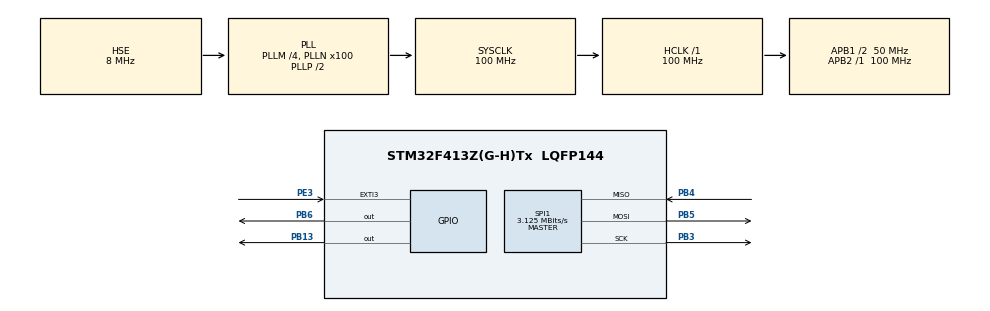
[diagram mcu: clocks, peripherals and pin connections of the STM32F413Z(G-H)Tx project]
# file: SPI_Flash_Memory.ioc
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Mcu.Family=STM32F4
Mcu.Name=STM32F413Z(G-H)Tx
Mcu.Package=LQFP144
NVIC.EXTI3_IRQn=true\:0\:0\:false\:false\:true\:true\:true\:true
NVIC.PriorityGroup=NVIC_PRIORITYGROUP_4
PA13.Mode=Serial_Wire
PA13.Signal=SYS_JTMS-SWDIO
PA14.Mode=Serial_Wire
PA14.Signal=SYS_JTCK-SWCLK
PB13.Signal=GPIO_Output
PB3.Mode=Full_Duplex_Master
PB3.Signal=SPI1_SCK
PB4.Mode=Full_Duplex_Master
PB4.Signal=SPI1_MISO
PB5.Mode=Full_Duplex_Master
PB5.Signal=SPI1_MOSI
PB6.GPIO_Speed=GPIO_SPEED_FREQ_VERY_HIGH
PB6.PinState=GPIO_PIN_SET
PB6.Signal=GPIO_Output
PE3.GPIO_ModeDefaultEXTI=GPIO_MODE_IT_FALLING
PE3.GPIO_PuPd=GPIO_PULLUP
PE3.Signal=GPXTI3
PH0\ -\ OSC_IN.Mode=HSE-External-Oscillator
PH0\ -\ OSC_IN.Signal=RCC_OSC_IN
PH1\ -\ OSC_OUT.Mode=HSE-External-Oscillator
PH1\ -\ OSC_OUT.Signal=RCC_OSC_OUT
ProjectManager.HeapSize=0x200
ProjectManager.StackSize=0x400
ProjectManager.TargetToolchain=STM32CubeIDE
RCC.AHBFreq_Value=100000000
RCC.APB1CLKDivider=RCC_HCLK_DIV2
RCC.APB1Freq_Value=50000000
RCC.APB1TimFreq_Value=100000000
RCC.APB2Freq_Value=100000000
RCC.APB2TimFreq_Value=100000000
RCC.CortexFreq_Value=100000000
RCC.HCLKFreq_Value=100000000
RCC.HSE_VALUE=8000000
RCC.PLLM=4
RCC.PLLN=100
RCC.PLLSourceVirtual=RCC_PLLSOURCE_HSE
RCC.SYSCLKFreq_VALUE=100000000
RCC.SYSCLKSource=RCC_SYSCLKSOURCE_PLLCLK
RCC.USBFreq_Value=100000000
RCC.VCOOutputFreq_Value=200000000
SPI1.BaudRatePrescaler=SPI_BAUDRATEPRESCALER_32
SPI1.CalculateBaudRate=3.125 MBits/s
SPI1.Direction=SPI_DIRECTION_2LINES
SPI1.Mode=SPI_MODE_MASTER
SPI1.VirtualType=VM_MASTER
board=custom

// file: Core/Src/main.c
/* USER CODE BEGIN Header */
/**
  ******************************************************************************
  * @file           : main.c
  * @brief          : Main program body
  ******************************************************************************
  * @attention
  *
  * Copyright (c) 2023 STMicroelectronics.
  * All rights reserved.
  *
  * This software is licensed under terms that can be found in the LICENSE file
  * in the root directory of this software component.
  * If no LICENSE file comes with this software, it is provided AS-IS.
  *
  ******************************************************************************
  */
/* USER CODE END Header */
#include "main.h"

/* USER CODE BEGIN Includes */
#include "W25Qxx.h"
#include "stdio.h"
#include "string.h"
/* USER CODE END Includes */

SPI_HandleTypeDef hspi1;

/* USER CODE BEGIN PV */
uint32_t ID = 0;
uint8_t RxData[4608];
uint8_t TxData[30];

int indx = 0;

/* USER CODE END PV */

void SystemClock_Config(void);
static void MX_GPIO_Init(void);
static void MX_SPI1_Init(void);

int main(void)
{
    /* USER CODE BEGIN 1 */
    HAL_Init();

    /* USER CODE END 1 */

    /* Configure the system clock */
    SystemClock_Config();

    /* USER CODE BEGIN 2 */
    MX_GPIO_Init();
    MX_SPI1_Init();

    W25Q_Reset();
    ID = W25Q_ReadID();

    if (ID == 0xFFFFFF)
    {
        W25Q_Read(1, 85, 20, RxData);  // Read 20 bytes from Page 1 Offset 85
        W25Q_FastRead(0, 0, 512, RxData);  // Read 512 bytes (2 Pages) from the start of Page 0

        W25Q_Read(17, 10, 20, RxData);  // Read 20 bytes from Page 17 Offset 10
        W25Q_FastRead(16, 0, 512, RxData);  // Read 512 bytes (2 Pages) from the start of Page 16

        W25Q_FastRead(0, 0, 4608, RxData);  // Read 4608 bytes (18 Pages) from the start of Page 0
    }
    /* USER CODE END 2 */

    /* Infinite loop */
    /* USER CODE BEGIN WHILE */
    int offset = 0;
    while (1)
    {
        // Agregar la cadena especificada directamente en el bucle
        sprintf(TxData, "Hello from %d", indx++);
        W25Q_Write_Page(0, offset, strlen(TxData), TxData); // Corregir los valores pasados aquí
        HAL_Delay(1000);
        W25Q_Read(0, offset, 20, RxData);
        offset+= strlen(TxData);

        HAL_Delay(500);
    }
    /* USER CODE END WHILE */

}

void SystemClock_Config(void)
{
  RCC_OscInitTypeDef RCC_OscInitStruct = {0};
  RCC_ClkInitTypeDef RCC_ClkInitStruct = {0};

  /** Configure the main internal regulator output voltage
  */
  __HAL_RCC_PWR_CLK_ENABLE();
  __HAL_PWR_VOLTAGESCALING_CONFIG(PWR_REGULATOR_VOLTAGE_SCALE1);

  /** Initializes the RCC Oscillators according to the specified parameters
  * in the RCC_OscInitTypeDef structure.
  */
  RCC_OscInitStruct.OscillatorType = RCC_OSCILLATORTYPE_HSE;
  RCC_OscInitStruct.HSEState = RCC_HSE_ON;
  RCC_OscInitStruct.PLL.PLLState = RCC_PLL_ON;
  RCC_OscInitStruct.PLL.PLLSource = RCC_PLLSOURCE_HSE;
  RCC_OscInitStruct.PLL.PLLM = 4;
  RCC_OscInitStruct.PLL.PLLN = 100;
  RCC_OscInitStruct.PLL.PLLP = RCC_PLLP_DIV2;
  RCC_OscInitStruct.PLL.PLLQ = 2;
  RCC_OscInitStruct.PLL.PLLR = 2;
  if (HAL_RCC_OscConfig(&RCC_OscInitStruct) != HAL_OK)
  {
    Error_Handler();
  }

  /** Initializes the CPU, AHB and APB buses clocks
  */
  RCC_ClkInitStruct.ClockType = RCC_CLOCKTYPE_HCLK|RCC_CLOCKTYPE_SYSCLK
                              |RCC_CLOCKTYPE_PCLK1|RCC_CLOCKTYPE_PCLK2;
  RCC_ClkInitStruct.SYSCLKSource = RCC_SYSCLKSOURCE_PLLCLK;
  RCC_ClkInitStruct.AHBCLKDivider = RCC_SYSCLK_DIV1;
  RCC_ClkInitStruct.APB1CLKDivider = RCC_HCLK_DIV2;
  RCC_ClkInitStruct.APB2CLKDivider = RCC_HCLK_DIV1;

  if (HAL_RCC_ClockConfig(&RCC_ClkInitStruct, FLASH_LATENCY_3) != HAL_OK)
  {
    Error_Handler();
  }
}

static void MX_SPI1_Init(void)
{
  /* SPI1 parameter configuration*/
  hspi1.Instance = SPI1;
  hspi1.Init.Mode = SPI_MODE_MASTER;
  hspi1.Init.Direction = SPI_DIRECTION_2LINES;
  hspi1.Init.DataSize = SPI_DATASIZE_8BIT;
  hspi1.Init.CLKPolarity = SPI_POLARITY_LOW;
  hspi1.Init.CLKPhase = SPI_PHASE_1EDGE;
  hspi1.Init.NSS = SPI_NSS_SOFT;
  hspi1.Init.BaudRatePrescaler = SPI_BAUDRATEPRESCALER_32;
  hspi1.Init.FirstBit = SPI_FIRSTBIT_MSB;
  hspi1.Init.TIMode = SPI_TIMODE_DISABLE;
  hspi1.Init.CRCCalculation = SPI_CRCCALCULATION_DISABLE;
  hspi1.Init.CRCPolynomial = 10;
  if (HAL_SPI_Init(&hspi1) != HAL_OK)
  {
    Error_Handler();
  }
}

static void MX_GPIO_Init(void)
{
  GPIO_InitTypeDef GPIO_InitStruct = {0};

  /* GPIO Ports Clock Enable */
  __HAL_RCC_GPIOE_CLK_ENABLE();
  __HAL_RCC_GPIOH_CLK_ENABLE();
  __HAL_RCC_GPIOB_CLK_ENABLE();
  __HAL_RCC_GPIOA_CLK_ENABLE();

  /*Configure GPIO pin Output Level */
  HAL_GPIO_WritePin(GPIOB, GPIO_PIN_13, GPIO_PIN_RESET);

  /*Configure GPIO pin Output Level */
  HAL_GPIO_WritePin(GPIOB, GPIO_PIN_6, GPIO_PIN_SET);

  /* EXTI interrupt init*/
  HAL_NVIC_SetPriority(EXTI3_IRQn, 0, 0);
  HAL_NVIC_EnableIRQ(EXTI3_IRQn);
}

void Error_Handler(void)
{
  __disable_irq();
  while (1)
  {
  }
}
